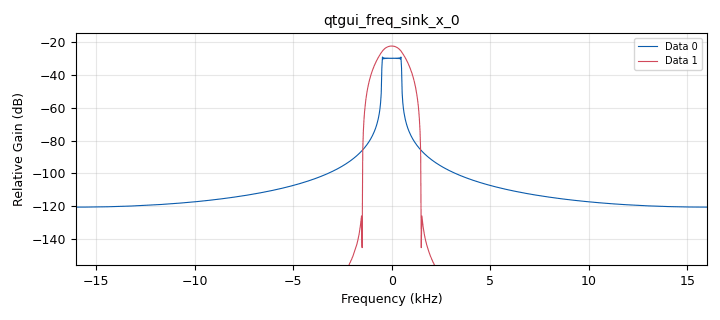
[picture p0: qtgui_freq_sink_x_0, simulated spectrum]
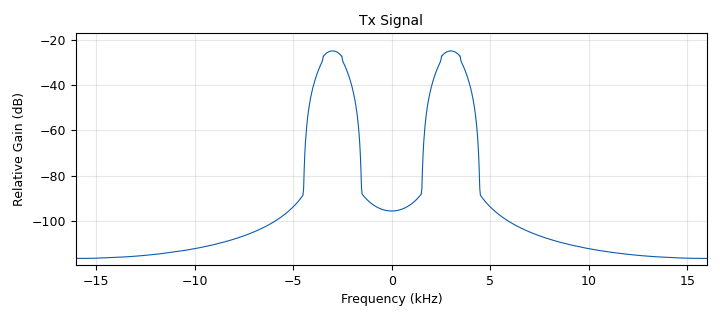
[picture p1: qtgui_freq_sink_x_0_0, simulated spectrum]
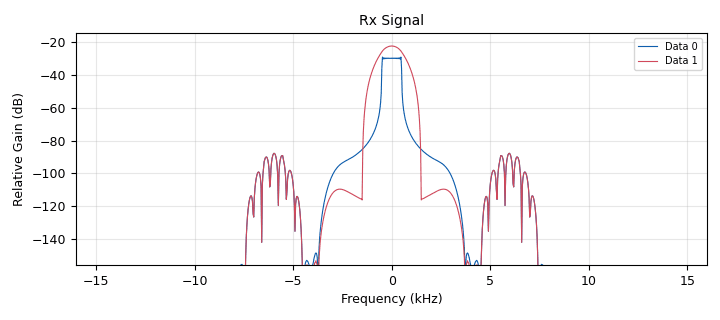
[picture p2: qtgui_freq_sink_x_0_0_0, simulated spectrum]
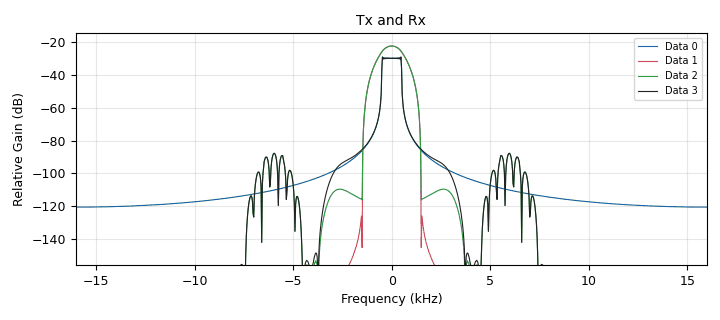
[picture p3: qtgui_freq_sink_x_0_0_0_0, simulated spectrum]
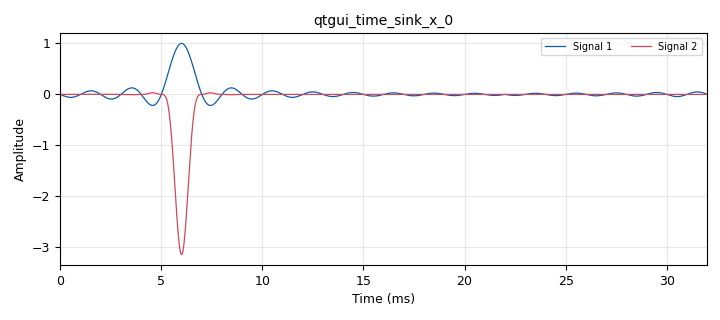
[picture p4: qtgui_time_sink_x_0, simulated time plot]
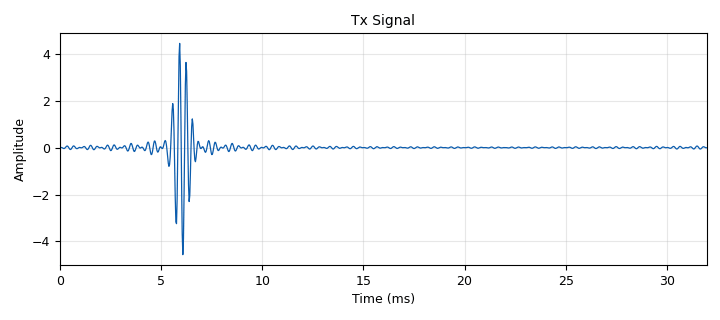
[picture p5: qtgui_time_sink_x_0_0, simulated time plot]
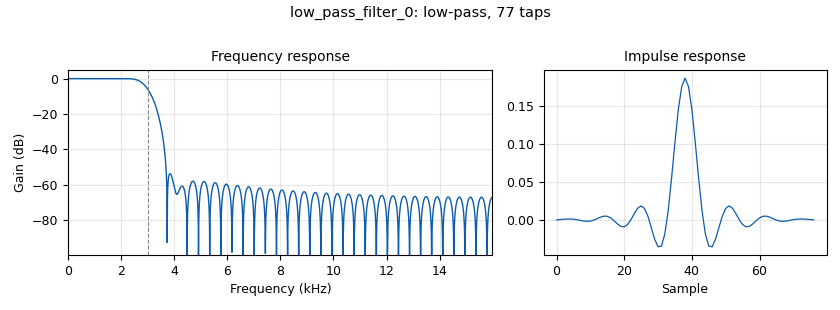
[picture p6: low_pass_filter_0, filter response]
options:
  parameters:
    author: aruncs
    generate_options: qt_gui
    id: iq_generation_2
    output_language: python
    title: IQ Generation 2
  states: {}

blocks:
- name: fc
  id: variable_qtgui_range
  parameters:
    label: Carrier Freq Slider
    start: '2500'
    step: '1'
    stop: '10000'
    value: '3000'
  states: {}
- name: samp_rate
  id: variable
  parameters:
    value: '32000'
  states: {}
- name: t_vals
  id: variable
  parameters:
    value: numpy.arange(-512,512)/32
  states: {}
- name: analog_sig_source_x_0
  id: analog_sig_source_x
  parameters:
    amp: '1.414'
    freq: fc
    offset: '0'
    phase: '0'
    samp_rate: samp_rate
    type: float
    waveform: analog.GR_SIN_WAVE
  states: {}
- name: analog_sig_source_x_0_0
  id: analog_sig_source_x
  parameters:
    amp: '-1.414'
    freq: fc
    offset: '0'
    phase: '0'
    samp_rate: samp_rate
    type: float
    waveform: analog.GR_COS_WAVE
  states: {}
- name: blocks_add_xx_0
  id: blocks_add_xx
  parameters:
    type: float
  states: {}
- name: blocks_multiply_xx_0
  id: blocks_multiply_xx
  parameters:
    type: float
  states: {}
- name: blocks_multiply_xx_0_0
  id: blocks_multiply_xx
  parameters:
    type: float
  states: {}
- name: blocks_multiply_xx_0_0_0
  id: blocks_multiply_xx
  parameters:
    type: float
  states: {}
- name: blocks_multiply_xx_0_1
  id: blocks_multiply_xx
  parameters:
    type: float
  states: {}
- name: blocks_throttle_0
  id: blocks_throttle
  parameters:
    samples_per_second: samp_rate
    type: float
  states: {}
- name: blocks_throttle_0_0
  id: blocks_throttle
  parameters:
    samples_per_second: samp_rate
    type: float
  states: {}
- name: blocks_vector_source_x_0
  id: blocks_vector_source_x
  parameters:
    repeat: 'True'
    type: float
    vector: numpy.sinc(t_vals)
  states: {}
- name: blocks_vector_source_x_0_0
  id: blocks_vector_source_x
  parameters:
    repeat: 'True'
    type: float
    vector: numpy.sinc(t_vals)**2 * numpy.sinc(t_vals) * -numpy.pi
  states: {}
- name: import_0
  id: import
  parameters:
    imports: import numpy
  states: {}
- name: low_pass_filter_0
  id: low_pass_filter
  parameters:
    cutoff_freq: fc
    decim: '1'
    gain: '1'
    samp_rate: samp_rate
    type: fir_filter_fff
    width: '1000'
    win: window.WIN_HAMMING
  states: {}
- name: low_pass_filter_0_0
  id: low_pass_filter
  parameters:
    cutoff_freq: fc
    decim: '1'
    gain: '1'
    samp_rate: samp_rate
    type: fir_filter_fff
    width: '1000'
    win: window.WIN_HAMMING
  states: {}
- name: qtgui_freq_sink_x_0
  id: qtgui_freq_sink_x
  parameters:
    autoscale: 'True'
    average: '0.2'
    bw: samp_rate
    fc: '0'
    fftsize: '1024'
    grid: 'True'
    nconnections: '2'
    type: float
    wintype: window.WIN_RECTANGULAR
  states: {}
- name: qtgui_freq_sink_x_0_0
  id: qtgui_freq_sink_x
  parameters:
    autoscale: 'True'
    average: '0.2'
    bw: samp_rate
    fc: '0'
    fftsize: '1024'
    grid: 'True'
    name: Tx Signal
    type: float
    wintype: window.WIN_RECTANGULAR
  states: {}
- name: qtgui_freq_sink_x_0_0_0
  id: qtgui_freq_sink_x
  parameters:
    autoscale: 'True'
    average: '0.2'
    bw: samp_rate
    fc: '0'
    fftsize: '1024'
    grid: 'True'
    name: Rx Signal
    nconnections: '2'
    type: float
    wintype: window.WIN_RECTANGULAR
  states: {}
- name: qtgui_freq_sink_x_0_0_0_0
  id: qtgui_freq_sink_x
  parameters:
    autoscale: 'True'
    average: '0.2'
    bw: samp_rate
    fc: '0'
    fftsize: '1024'
    grid: 'True'
    name: Tx and Rx
    nconnections: '4'
    type: float
    wintype: window.WIN_RECTANGULAR
  states: {}
- name: qtgui_time_sink_x_0
  id: qtgui_time_sink_x
  parameters:
    autoscale: 'True'
    entags: 'False'
    grid: 'True'
    nconnections: '2'
    size: '1024'
    srate: samp_rate
    type: float
  states: {}
- name: qtgui_time_sink_x_0_0
  id: qtgui_time_sink_x
  parameters:
    autoscale: 'True'
    entags: 'False'
    grid: 'True'
    name: Tx Signal
    size: '1024'
    srate: samp_rate
    type: float
  states: {}
- name: qtgui_time_sink_x_0_0_0
  id: qtgui_time_sink_x
  parameters:
    autoscale: 'True'
    entags: 'False'
    grid: 'True'
    name: Rx Signal
    nconnections: '2'
    size: '1024'
    srate: samp_rate
    type: float
  states: {}
- name: qtgui_time_sink_x_0_0_0_0
  id: qtgui_time_sink_x
  parameters:
    autoscale: 'True'
    entags: 'False'
    grid: 'True'
    name: Tx and Rx
    nconnections: '4'
    size: '1024'
    srate: samp_rate
    type: float
  states: {}

connections:
- [analog_sig_source_x_0, '0', blocks_multiply_xx_0, '0']
- [analog_sig_source_x_0, '0', blocks_multiply_xx_0_0_0, '1']
- [analog_sig_source_x_0_0, '0', blocks_multiply_xx_0_0, '1']
- [analog_sig_source_x_0_0, '0', blocks_multiply_xx_0_1, '1']
- [blocks_add_xx_0, '0', blocks_multiply_xx_0_0_0, '0']
- [blocks_add_xx_0, '0', blocks_multiply_xx_0_1, '0']
- [blocks_add_xx_0, '0', qtgui_freq_sink_x_0_0, '0']
- [blocks_add_xx_0, '0', qtgui_time_sink_x_0_0, '0']
- [blocks_multiply_xx_0, '0', blocks_add_xx_0, '1']
- [blocks_multiply_xx_0_0, '0', blocks_add_xx_0, '0']
- [blocks_multiply_xx_0_0_0, '0', low_pass_filter_0, '0']
- [blocks_multiply_xx_0_1, '0', low_pass_filter_0_0, '0']
- [blocks_throttle_0, '0', qtgui_freq_sink_x_0, '0']
- [blocks_throttle_0, '0', qtgui_time_sink_x_0, '0']
- [blocks_throttle_0_0, '0', qtgui_freq_sink_x_0, '1']
- [blocks_throttle_0_0, '0', qtgui_time_sink_x_0, '1']
- [blocks_vector_source_x_0, '0', blocks_multiply_xx_0_0, '0']
- [blocks_vector_source_x_0, '0', blocks_throttle_0, '0']
- [blocks_vector_source_x_0, '0', qtgui_freq_sink_x_0_0_0_0, '0']
- [blocks_vector_source_x_0, '0', qtgui_time_sink_x_0_0_0_0, '0']
- [blocks_vector_source_x_0_0, '0', blocks_multiply_xx_0, '1']
- [blocks_vector_source_x_0_0, '0', blocks_throttle_0_0, '0']
- [blocks_vector_source_x_0_0, '0', qtgui_freq_sink_x_0_0_0_0, '1']
- [blocks_vector_source_x_0_0, '0', qtgui_time_sink_x_0_0_0_0, '1']
- [low_pass_filter_0, '0', qtgui_freq_sink_x_0_0_0, '1']
- [low_pass_filter_0, '0', qtgui_freq_sink_x_0_0_0_0, '2']
- [low_pass_filter_0, '0', qtgui_time_sink_x_0_0_0, '0']
- [low_pass_filter_0, '0', qtgui_time_sink_x_0_0_0_0, '2']
- [low_pass_filter_0_0, '0', qtgui_freq_sink_x_0_0_0, '0']
- [low_pass_filter_0_0, '0', qtgui_freq_sink_x_0_0_0_0, '3']
- [low_pass_filter_0_0, '0', qtgui_time_sink_x_0_0_0, '1']
- [low_pass_filter_0_0, '0', qtgui_time_sink_x_0_0_0_0, '3']

metadata:
  file_format: 1
  grc_version: 3.10.11.0
